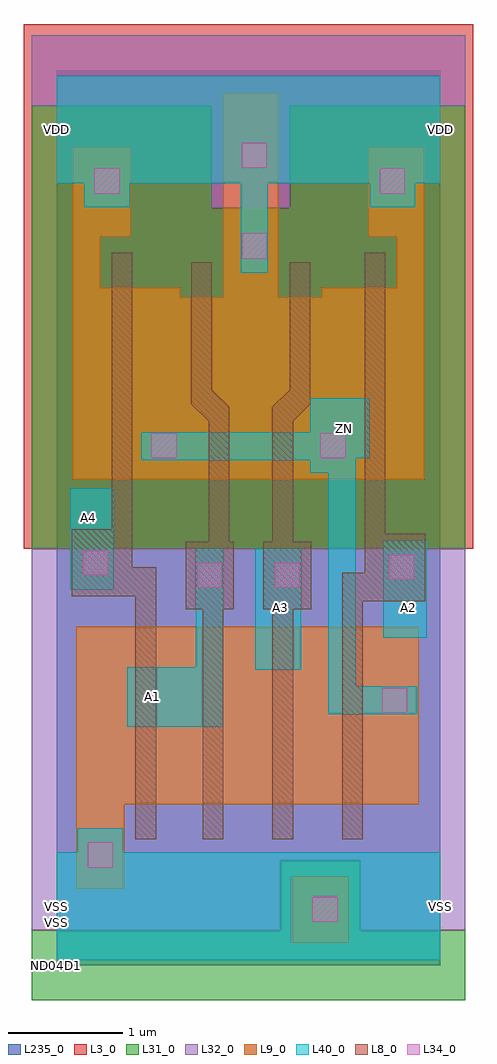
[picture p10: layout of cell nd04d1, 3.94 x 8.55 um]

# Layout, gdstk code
import gdstk
lib = gdstk.Library(unit=1e-6, precision=1e-09)
def R(c, l, rs):  # rectangles x0, y0, x1, y1
    for r in rs: c.add(gdstk.rectangle(r[:2], r[2:], *l))
def P(c, l, *ps):  # polygons
    for p in ps: c.add(gdstk.Polygon(p, *l))
L3_0 = (3, 0)
L8_0 = (8, 0)
L9_0 = (9, 0)
L31_0 = (31, 0)
L32_0 = (32, 0)
L34_0 = (34, 0)
L40_0 = (40, 0)
L235_0 = (235, 0)

nd04d1 = lib.new_cell('nd04d1')
R(nd04d1, L3_0, [(-0.29,3.65,3.65,8.245)])
P(nd04d1, L8_0, [(2.68,3.19),(3.23,3.19),(3.23,3.78),(2.88,3.78),(2.88,6.24),(2.7,6.24),(2.7,3.44),(2.5,3.44),(2.5,1.105),(2.68,1.105)],
  [(0.87,3.485),(0.66,3.485),(0.66,6.24),(0.48,6.24),(0.48,3.82),(0.13,3.82),(0.13,3.23),(0.69,3.23),(0.69,1.105),(0.87,1.105)],
  [(2.07,3.12),(2.23,3.12),(2.23,3.71),(2.07,3.71),(2.07,4.765),(2.22,4.915),(2.22,6.16),(2.04,6.16),(2.04,5.04),(1.89,4.89),(1.89,3.71),(1.81,3.71),(1.81,3.12),(1.89,3.12),(1.89,1.105),(2.07,1.105)],
  [(1.46,3.12),(1.55,3.12),(1.55,3.71),(1.51,3.71),(1.51,4.89),(1.36,5.04),(1.36,6.16),(1.18,6.16),(1.18,4.915),(1.33,4.765),(1.33,3.71),(1.13,3.71),(1.13,3.12),(1.28,3.12),(1.28,1.105),(1.46,1.105)])
R(nd04d1, L9_0, [(2.06,0.195,2.56,0.78)])
P(nd04d1, L9_0, [(3.17,2.965),(3.17,1.41),(0.59,1.41),(0.59,0.67),(0.17,0.67),(0.17,2.965)],
  [(1.94,7.64),(1.94,5.85),(2.32,5.85),(2.32,5.935),(2.98,5.935),(2.98,6.38),(2.73,6.38),(2.73,7.165),(3.22,7.165),(3.22,4.255),(0.14,4.255),(0.14,7.165),(0.65,7.165),(0.65,6.38),(0.38,6.38),(0.38,5.935),(1.08,5.935),(1.08,5.85),(1.46,5.85),(1.46,7.64)])
P(nd04d1, L31_0, [(2.66,0.92),(2.66,0.305),(3.58,0.305),(3.58,-0.305),(-0.22,-0.305),(-0.22,0.305),(1.96,0.305),(1.96,0.92)],
  [(3.58,7.53),(3.58,3.65),(-0.22,3.65),(-0.22,7.53),(1.36,7.53),(1.36,6.635),(2.04,6.635),(2.04,7.53)])
P(nd04d1, L32_0, [(3.58,3.65),(3.58,0.305),(2.66,0.305),(2.66,0.92),(1.96,0.92),(1.96,0.305),(-0.22,0.305),(-0.22,3.65)],
  [(3.58,8.145),(3.58,7.53),(2.04,7.53),(2.04,6.635),(1.36,6.635),(1.36,7.53),(-0.22,7.53),(-0.22,8.145)])
R(nd04d1, L34_0, [(2.24,0.38,2.46,0.6), (0.27,0.855,0.49,1.075), (2.85,2.21,3.07,2.43), (1.23,3.305,1.45,3.525), (1.91,3.305,2.13,3.525), (2.91,3.375,3.13,3.595), (0.23,3.415,0.45,3.635), (0.83,4.44,1.05,4.66), (2.31,4.44,2.53,4.66), (1.62,6.19,1.84,6.41), (0.33,6.76,0.55,6.98), (2.83,6.76,3.05,6.98), (1.62,6.985,1.84,7.205)])
R(nd04d1, L40_0, [(1.74,2.59,2.14,3.65), (2.86,2.87,3.24,3.72), (0.12,3.29,0.5,4.18)])
P(nd04d1, L40_0, [(0,6.85),(0.24,6.85),(0.24,6.64),(0.64,6.64),(0.64,6.85),(1.61,6.85),(1.61,6.065),(1.85,6.065),(1.85,6.85),(2.74,6.85),(2.74,6.64),(3.14,6.64),(3.14,6.85),(3.36,6.85),(3.36,7.79),(0,7.79)],
  [(1.46,3.65),(1.22,3.65),(1.22,2.61),(0.62,2.61),(0.62,2.09),(1.46,2.09)],
  [(2.62,4.44),(2.74,4.44),(2.74,4.965),(2.22,4.965),(2.22,4.67),(0.74,4.67),(0.74,4.425),(2.22,4.425),(2.22,4.315),(2.38,4.315),(2.38,2.2),(3.16,2.2),(3.16,2.445),(2.62,2.445)],
  [(0.18,1.2),(0.18,0.99),(0,0.99),(0,0.045),(3.36,0.045),(3.36,0.99),(0.58,0.99),(0.58,1.2)])
R(nd04d1, L235_0, [(0,0,3.36,7.84)])
nd04d1.add(gdstk.Label('VSS', (0,0.37), layer=40, texttype=7))
nd04d1.add(gdstk.Label('VSS', (0,0.37), layer=40, texttype=7))
nd04d1.add(gdstk.Label('VSS', (0,0.37), layer=40, texttype=7))
nd04d1.add(gdstk.Label('VSS', (0,0.37), layer=40, texttype=7))
nd04d1.add(gdstk.Label('VSS', (0,0.37), layer=40, texttype=7))
nd04d1.add(gdstk.Label('Copyright (c) 2003, 2004 Synopsys, Inc.', (0,-2.24), layer=96, texttype=0))
nd04d1.add(gdstk.Label('DT. 10-Sep-2002 16:43:11', (0,-1.68), layer=96, texttype=0))
nd04d1.add(gdstk.Label('Rev. 1', (0,-1.12), layer=96, texttype=0))
nd04d1.add(gdstk.Label('4-INPUT NAND, 1X DRIVE', (0,-0.56), layer=96, texttype=0))
nd04d1.add(gdstk.Label('ND04D1', (0,0), layer=96, texttype=0))
nd04d1.add(gdstk.Label('A3', (1.96,3.135), layer=40, texttype=7))
nd04d1.add(gdstk.Label('ZN', (2.52,4.7), layer=40, texttype=7))
nd04d1.add(gdstk.Label('A1', (0.84,2.35), layer=40, texttype=7))
nd04d1.add(gdstk.Label('A4', (0.28,3.92), layer=40, texttype=7))
nd04d1.add(gdstk.Label('A2', (3.08,3.135), layer=40, texttype=7))
nd04d1.add(gdstk.Label('VDD', (3.36,7.32), layer=40, texttype=7))
nd04d1.add(gdstk.Label('VDD', (0,7.32), layer=40, texttype=7))
nd04d1.add(gdstk.Label('VSS', (3.36,0.515), layer=40, texttype=7))
nd04d1.add(gdstk.Label('VSS', (0,0.515), layer=40, texttype=7))

lib.write_gds('nd04d1.gds')
